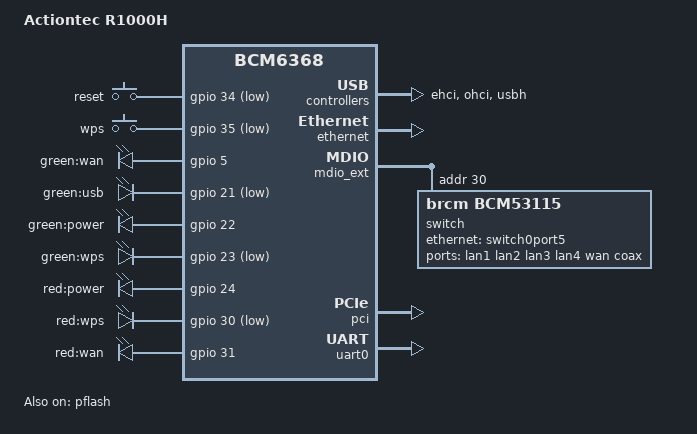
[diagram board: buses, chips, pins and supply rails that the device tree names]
// SPDX-License-Identifier: GPL-2.0-or-later

#include "bcm6368.dtsi"

/ {
	model = "Actiontec R1000H";
	compatible = "actiontec,r1000h", "brcm,bcm6368";

	aliases {
		led-boot = &led_power_green;
		led-failsafe = &led_power_red;
		led-running = &led_power_green;
		led-upgrade = &led_power_green;
	};

	keys {
		compatible = "gpio-keys-polled";
		poll-interval = <100>;

		reset {
			label = "reset";
			gpios = <&gpio 34 GPIO_ACTIVE_LOW>;
			linux,code = <KEY_RESTART>;
			debounce-interval = <60>;
		};

		wps {
			label = "wps";
			gpios = <&gpio 35 GPIO_ACTIVE_LOW>;
			linux,code = <KEY_WPS_BUTTON>;
			debounce-interval = <60>;
		};
	};

	leds {
		compatible = "gpio-leds";

		led@5 {
			label = "green:wan";
			gpios = <&gpio 5 GPIO_ACTIVE_HIGH>;
		};

		led@21 {
			label = "green:usb";
			gpios = <&gpio 21 GPIO_ACTIVE_LOW>;
		};

		led_power_green: led@22 {
			label = "green:power";
			gpios = <&gpio 22 GPIO_ACTIVE_HIGH>;
		};

		led@23 {
			label = "green:wps";
			gpios = <&gpio 23 GPIO_ACTIVE_LOW>;
		};

		led_power_red: led@24 {
			label = "red:power";
			gpios = <&gpio 24 GPIO_ACTIVE_HIGH>;
			panic-indicator;
		};

		led@30 {
			label = "red:wps";
			gpios = <&gpio 30 GPIO_ACTIVE_LOW>;
		};

		led@31 {
			label = "red:wan";
			gpios = <&gpio 31 GPIO_ACTIVE_HIGH>;
		};
	};
};

&ehci {
	status = "okay";
};

&ethernet {
	status = "okay";

	nvmem-cells = <&macaddr_cfe_6a0>;
	nvmem-cell-names = "mac-address";
};

&mdio_ext {
	switch@1e {
		compatible = "brcm,bcm53115";
		reg = <30>;

		dsa,member = <1 0>;

		ports {
			#address-cells = <1>;
			#size-cells = <0>;

			port@0 {
				reg = <0>;
				label = "lan1";
			};

			port@1 {
				reg = <1>;
				label = "lan2";
			};

			port@2 {
				reg = <2>;
				label = "lan3";
			};

			port@3 {
				reg = <3>;
				label = "lan4";
			};

			port@4 {
				reg = <4>;
				label = "wan";
			};

			port@5 {
				/* HPNA coaxial port */
				reg = <5>;
				label = "coax";

				phy-mode = "mii";

				fixed-link {
					speed = <100>;
					full-duplex;
				};
			};

			port@8 {
				reg = <8>;

				phy-mode = "rgmii";
				ethernet = <&switch0port5>;

				fixed-link {
					speed = <1000>;
					full-duplex;
				};
			};
		};
	};
};

&switch0 {
	dsa,member = <0 0>;

	ports {
		switch0port5: port@5 {
			reg = <5>;
			label = "extsw";

			phy-mode = "rgmii";

			fixed-link {
				speed = <1000>;
				full-duplex;
			};
		};
	};
};

&pflash {
	status = "okay";

	partitions {
		compatible = "fixed-partitions";
		#address-cells = <1>;
		#size-cells = <1>;

		cfe: partition@0 {
			label = "CFE";
			reg = <0x000000 0x020000>;
			read-only;
		};

		partition@20000 {
			label = "firmware";
			reg = <0x020000 0x1fc0000>;
			compatible = "brcm,bcm963xx-imagetag";
		};

		partition@fe0000 {
			label = "nvram";
			reg = <0x1fe0000 0x020000>;
		};
	};
};

&ohci {
	status = "okay";
};

&pci {
	status = "okay";
};

&uart0 {
	status = "okay";
};

&usbh {
	status = "okay";
};

&cfe {
	compatible = "nvmem-cells";
	#address-cells = <1>;
	#size-cells = <1>;

	macaddr_cfe_6a0: macaddr@6a0 {
		reg = <0x6a0 0x6>;
	};
};
